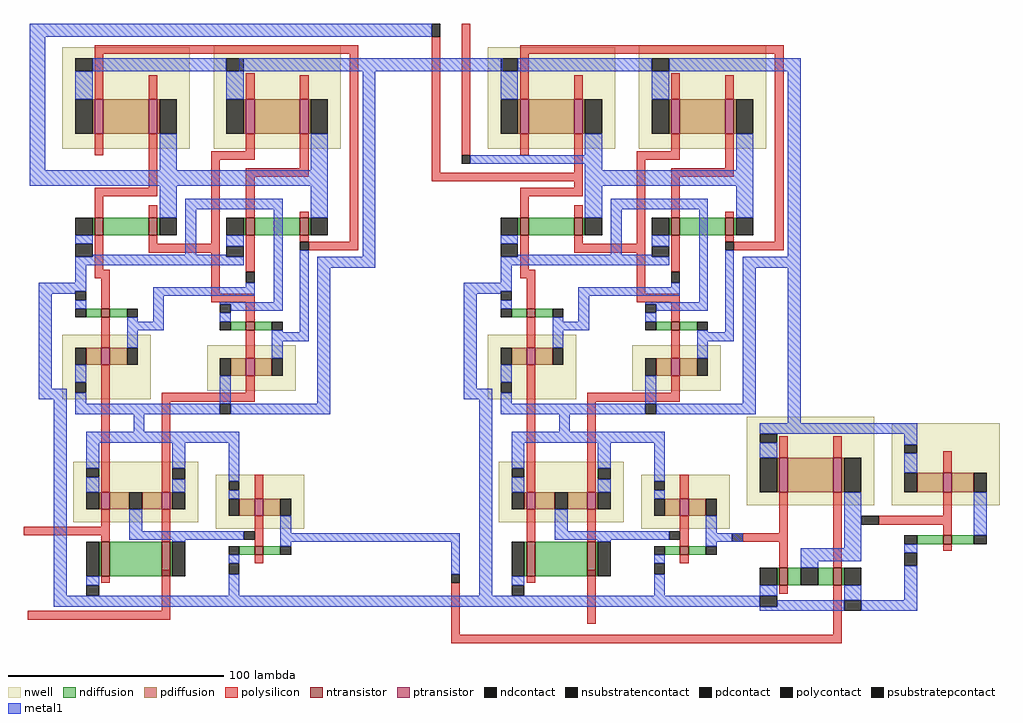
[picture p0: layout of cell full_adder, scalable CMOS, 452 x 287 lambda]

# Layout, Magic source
magic
tech scmos
<< nwell >>
rect 328 43 387 84
rect 395 43 445 81
<< ntransistor >>
rect 419 25 423 29
rect 343 6 347 14
rect 368 6 372 14
<< ptransistor >>
rect 343 49 347 65
rect 368 49 372 65
rect 419 49 423 58
<< ndiffusion >>
rect 407 25 419 29
rect 423 25 433 29
rect 342 6 343 14
rect 347 6 353 14
rect 361 6 368 14
rect 372 6 373 14
<< pdiffusion >>
rect 342 49 343 65
rect 347 49 368 65
rect 372 49 373 65
rect 407 49 419 58
rect 423 49 433 58
<< ndcontact >>
rect 401 25 407 29
rect 433 25 439 29
rect 334 6 342 14
rect 353 6 361 14
rect 373 6 381 14
<< pdcontact >>
rect 334 49 342 65
rect 373 49 381 65
rect 401 49 407 58
rect 433 49 439 58
<< psubstratepcontact >>
rect 401 15 407 21
rect 334 -4 342 1
rect 373 -6 381 -1
<< nsubstratencontact >>
rect 334 72 342 76
rect 401 67 407 71
<< polysilicon >>
rect 182 197 186 260
rect 196 205 200 266
rect 182 193 252 197
rect 343 65 347 75
rect 368 65 372 75
rect 419 58 423 68
rect -7 29 33 33
rect 343 30 347 49
rect 326 26 347 30
rect 343 14 347 26
rect 368 14 372 49
rect 419 38 423 49
rect 389 34 423 38
rect 419 29 423 34
rect 419 22 423 25
rect 57 -6 61 13
rect -5 -10 61 -6
rect 191 -17 195 7
rect 254 -12 258 13
rect 343 2 347 6
rect 368 -17 372 6
rect 191 -21 372 -17
<< polycontact >>
rect 182 260 186 266
rect 196 201 200 205
rect 321 26 326 30
rect 381 34 389 38
rect 191 7 195 11
<< metal1 >>
rect -4 260 182 266
rect -4 198 3 260
rect 93 244 215 250
rect 200 201 261 205
rect -4 191 60 198
rect 347 81 353 153
rect 334 76 407 81
rect 334 65 342 72
rect 401 71 407 76
rect 401 58 407 67
rect 125 26 195 30
rect 191 11 195 26
rect 373 23 381 49
rect 433 29 439 49
rect 353 17 381 23
rect 401 21 407 25
rect 353 14 361 17
rect 334 1 342 6
rect 92 -4 214 1
rect 286 -4 334 1
rect 373 -1 381 6
rect 401 -1 407 15
rect 342 -4 373 -1
rect 334 -6 373 -4
rect 381 -6 407 -1
use half_adder  half_adder_0
transform 1 0 11 0 1 208
box -11 -212 145 48
use half_adder  half_adder_1
transform 1 0 208 0 1 208
box -11 -212 145 48
<< end >>

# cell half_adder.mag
magic
tech scmos
<< nwell >>
rect 0 0 59 47
rect 70 0 129 48
rect 0 -116 41 -86
rect 67 -112 108 -91
rect 5 -173 63 -145
rect 71 -176 112 -151
<< ntransistor >>
rect 15 -40 19 -32
rect 40 -40 44 -32
rect 85 -40 89 -32
rect 110 -40 114 -32
rect 18 -78 22 -74
rect 85 -84 89 -80
rect 18 -198 22 -182
rect 46 -198 50 -182
rect 89 -188 93 -184
<< ptransistor >>
rect 15 7 19 23
rect 40 7 44 23
rect 85 7 89 23
rect 110 7 114 23
rect 18 -100 22 -92
rect 85 -105 89 -97
rect 18 -167 22 -159
rect 46 -167 50 -159
rect 89 -170 93 -162
<< ndiffusion >>
rect 14 -40 15 -32
rect 19 -40 40 -32
rect 44 -40 45 -32
rect 84 -40 85 -32
rect 89 -40 110 -32
rect 114 -40 115 -32
rect 11 -78 18 -74
rect 22 -78 30 -74
rect 78 -84 85 -80
rect 89 -84 97 -80
rect 17 -198 18 -182
rect 22 -198 46 -182
rect 50 -198 51 -182
rect 82 -188 89 -184
rect 93 -188 101 -184
<< pdiffusion >>
rect 14 7 15 23
rect 19 7 40 23
rect 44 7 45 23
rect 84 7 85 23
rect 89 7 110 23
rect 114 7 115 23
rect 11 -100 18 -92
rect 22 -100 30 -92
rect 78 -105 85 -97
rect 89 -105 97 -97
rect 17 -167 18 -159
rect 22 -167 31 -159
rect 37 -167 46 -159
rect 50 -167 51 -159
rect 82 -170 89 -162
rect 93 -170 101 -162
<< ndcontact >>
rect 6 -40 14 -32
rect 45 -40 53 -32
rect 76 -40 84 -32
rect 115 -40 123 -32
rect 6 -78 11 -74
rect 30 -78 35 -74
rect 73 -84 78 -80
rect 97 -84 102 -80
rect 11 -198 17 -182
rect 51 -198 57 -182
rect 77 -188 82 -184
rect 101 -188 106 -184
<< pdcontact >>
rect 6 7 14 23
rect 45 7 53 23
rect 76 7 84 23
rect 115 7 123 23
rect 6 -100 11 -92
rect 30 -100 35 -92
rect 73 -105 78 -97
rect 97 -105 102 -97
rect 11 -167 17 -159
rect 31 -167 37 -159
rect 51 -167 57 -159
rect 77 -170 82 -162
rect 101 -170 106 -162
<< psubstratepcontact >>
rect 6 -50 14 -44
rect 6 -70 11 -66
rect 76 -50 84 -45
rect 73 -76 78 -72
rect 77 -197 82 -192
rect 11 -207 17 -202
<< nsubstratencontact >>
rect 6 36 14 42
rect 76 36 84 42
rect 6 -113 11 -108
rect 11 -152 17 -148
rect 73 -123 78 -118
rect 51 -153 57 -148
rect 77 -158 82 -154
<< polysilicon >>
rect 15 44 137 48
rect 15 23 19 44
rect 40 23 44 34
rect 85 23 89 35
rect 110 23 114 34
rect 15 -3 19 7
rect 40 -18 44 7
rect 85 -1 89 7
rect 15 -22 44 -18
rect 69 -5 89 -1
rect 15 -32 19 -22
rect 40 -32 44 -26
rect 15 -56 19 -40
rect 40 -44 44 -40
rect 69 -44 73 -5
rect 110 -9 114 7
rect 85 -13 114 -9
rect 85 -32 89 -13
rect 110 -32 114 -29
rect 40 -48 73 -44
rect 15 -60 22 -56
rect 18 -74 22 -60
rect 69 -67 73 -48
rect 85 -57 89 -40
rect 110 -43 114 -40
rect 133 -43 137 44
rect 114 -47 137 -43
rect 69 -71 89 -67
rect 18 -92 22 -78
rect 85 -80 89 -71
rect 85 -97 89 -84
rect 18 -159 22 -100
rect 85 -113 89 -105
rect 46 -117 89 -113
rect 46 -159 50 -117
rect 89 -162 93 -151
rect 18 -182 22 -167
rect 46 -182 50 -167
rect 89 -184 93 -170
rect 89 -192 93 -188
rect 18 -201 22 -198
rect 46 -201 50 -198
<< polycontact >>
rect 110 -47 114 -43
rect 85 -62 89 -57
rect 84 -181 89 -177
<< metal1 >>
rect 14 36 76 42
rect 84 36 145 42
rect 6 23 14 36
rect 76 23 84 36
rect 45 -10 53 7
rect 115 -10 123 7
rect 45 -17 123 -10
rect 45 -32 53 -17
rect 57 -28 102 -23
rect 6 -44 14 -40
rect 57 -49 62 -28
rect 76 -45 84 -40
rect 14 -50 76 -49
rect 6 -54 84 -50
rect 6 -62 11 -54
rect -11 -66 11 -62
rect 85 -64 89 -62
rect -11 -67 6 -66
rect -11 -111 -5 -67
rect 6 -74 11 -70
rect 42 -68 89 -64
rect 30 -80 35 -78
rect 42 -80 47 -68
rect 98 -71 102 -28
rect 115 -32 123 -17
rect 30 -84 47 -80
rect 73 -72 102 -71
rect 78 -75 102 -72
rect 73 -80 78 -76
rect 30 -92 35 -84
rect 97 -85 102 -84
rect 110 -85 114 -47
rect 139 -50 145 36
rect 97 -89 114 -85
rect 118 -55 145 -50
rect 97 -97 102 -89
rect 6 -108 11 -100
rect -11 -116 2 -111
rect -4 -207 2 -116
rect 6 -118 11 -113
rect 73 -118 78 -105
rect 118 -118 124 -55
rect 6 -123 73 -118
rect 78 -123 124 -118
rect 33 -131 38 -123
rect 11 -136 82 -131
rect 11 -148 17 -136
rect 11 -159 17 -152
rect 51 -148 57 -136
rect 51 -159 57 -153
rect 77 -154 82 -136
rect 77 -162 82 -158
rect 31 -177 37 -167
rect 31 -181 84 -177
rect 101 -178 106 -170
rect 51 -182 57 -181
rect 101 -182 118 -178
rect 101 -184 106 -182
rect 77 -192 82 -188
rect 11 -202 17 -198
rect 77 -207 82 -197
rect -4 -212 82 -207
<< end >>
